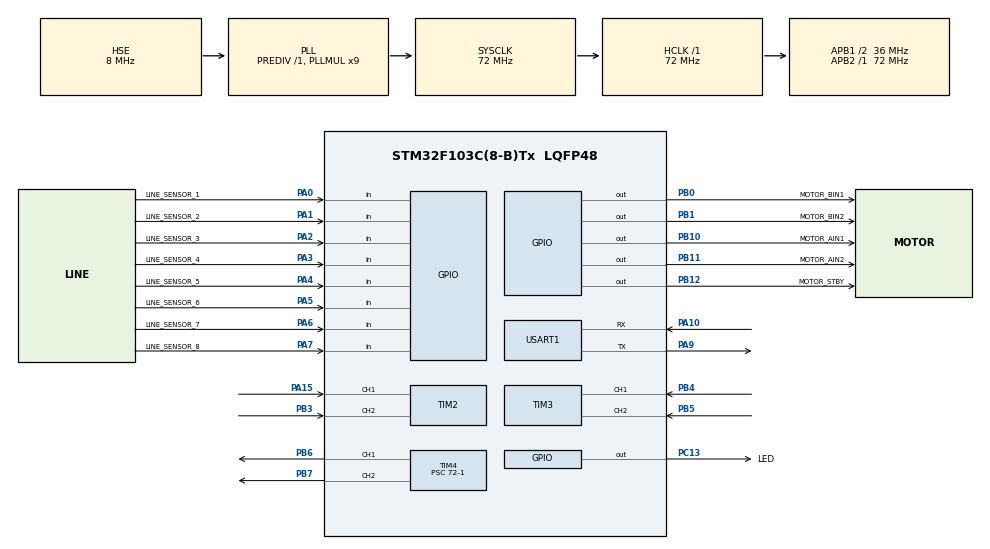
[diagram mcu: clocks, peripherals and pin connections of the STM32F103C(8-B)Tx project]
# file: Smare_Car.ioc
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Mcu.Family=STM32F1
Mcu.Name=STM32F103C(8-B)Tx
Mcu.Package=LQFP48
NVIC.PriorityGroup=NVIC_PRIORITYGROUP_4
NVIC.USART1_IRQn=true\:0\:0\:false\:false\:true\:true\:true\:true
PA0-WKUP.GPIO_Label=LINE_SENSOR_1
PA0-WKUP.GPIO_PuPd=GPIO_PULLDOWN
PA0-WKUP.Signal=GPIO_Input
PA1.GPIO_Label=LINE_SENSOR_2
PA1.GPIO_Mode=GPIO_MODE_INPUT
PA1.GPIO_PuPd=GPIO_PULLDOWN
PA1.Signal=GPIO_Input
PA10.Mode=Asynchronous
PA10.Signal=USART1_RX
PA13.Mode=Serial_Wire
PA13.Signal=SYS_JTMS-SWDIO
PA14.Mode=Serial_Wire
PA14.Signal=SYS_JTCK-SWCLK
PA15.Signal=S_TIM2_CH1_ETR
PA2.GPIO_Label=LINE_SENSOR_3
PA2.GPIO_PuPd=GPIO_PULLDOWN
PA2.Signal=GPIO_Input
PA3.GPIO_Label=LINE_SENSOR_4
PA3.GPIO_PuPd=GPIO_PULLDOWN
PA3.Signal=GPIO_Input
PA4.GPIO_Label=LINE_SENSOR_5
PA4.GPIO_PuPd=GPIO_PULLDOWN
PA4.Signal=GPIO_Input
PA5.GPIO_Label=LINE_SENSOR_6
PA5.GPIO_PuPd=GPIO_PULLDOWN
PA5.Signal=GPIO_Input
PA6.GPIO_Label=LINE_SENSOR_7
PA6.GPIO_PuPd=GPIO_PULLDOWN
PA6.Signal=GPIO_Input
PA7.GPIO_Label=LINE_SENSOR_8
PA7.GPIO_PuPd=GPIO_PULLDOWN
PA7.Signal=GPIO_Input
PA9.Mode=Asynchronous
PA9.Signal=USART1_TX
PB0.GPIO_Label=MOTOR_BIN1
PB0.Signal=GPIO_Output
PB1.GPIO_Label=MOTOR_BIN2
PB1.Signal=GPIO_Output
PB10.GPIO_Label=MOTOR_AIN1
PB10.Signal=GPIO_Output
PB11.GPIO_Label=MOTOR_AIN2
PB11.Signal=GPIO_Output
PB12.GPIO_Label=MOTOR_STBY
PB12.PinState=GPIO_PIN_SET
PB12.Signal=GPIO_Output
PB3.Signal=S_TIM2_CH2
PB4.Signal=S_TIM3_CH1
PB5.Signal=S_TIM3_CH2
PB6.Signal=S_TIM4_CH1
PB7.Signal=S_TIM4_CH2
PC13-TAMPER-RTC.GPIO_Label=LED
PC13-TAMPER-RTC.PinState=GPIO_PIN_SET
PC13-TAMPER-RTC.Signal=GPIO_Output
PD0-OSC_IN.Mode=HSE-External-Oscillator
PD0-OSC_IN.Signal=RCC_OSC_IN
PD1-OSC_OUT.Mode=HSE-External-Oscillator
PD1-OSC_OUT.Signal=RCC_OSC_OUT
ProjectManager.HeapSize=0x200
ProjectManager.StackSize=0x400
ProjectManager.TargetToolchain=MDK-ARM V5.32
RCC.AHBFreq_Value=72000000
RCC.APB1CLKDivider=RCC_HCLK_DIV2
RCC.APB1Freq_Value=36000000
RCC.APB1TimFreq_Value=72000000
RCC.APB2Freq_Value=72000000
RCC.APB2TimFreq_Value=72000000
RCC.HCLKFreq_Value=72000000
RCC.PLLMUL=RCC_PLL_MUL9
RCC.PLLSourceVirtual=RCC_PLLSOURCE_HSE
RCC.SYSCLKFreq_VALUE=72000000
RCC.SYSCLKSource=RCC_SYSCLKSOURCE_PLLCLK
RCC.USBFreq_Value=72000000
SH.S_TIM2_CH1_ETR.0=TIM2_CH1,Encoder_Interface
SH.S_TIM2_CH2.0=TIM2_CH2,Encoder_Interface
SH.S_TIM3_CH1.0=TIM3_CH1,Encoder_Interface
SH.S_TIM3_CH2.0=TIM3_CH2,Encoder_Interface
SH.S_TIM4_CH1.0=TIM4_CH1,PWM Generation1 CH1
SH.S_TIM4_CH2.0=TIM4_CH2,PWM Generation2 CH2
TIM2.EncoderMode=TIM_ENCODERMODE_TI12
TIM3.EncoderMode=TIM_ENCODERMODE_TI12
TIM4.Channel-PWM\ Generation1\ CH1=TIM_CHANNEL_1
TIM4.Channel-PWM\ Generation2\ CH2=TIM_CHANNEL_2
TIM4.Period=999
TIM4.Prescaler=72-1
USART1.VirtualMode=VM_ASYNC
VP_TIM4_VS_ClockSourceINT.Mode=Internal
board=custom

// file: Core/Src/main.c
/* USER CODE BEGIN Header */
/**
  ******************************************************************************
  * @file           : main.c
  * @brief          : Main program body
  ******************************************************************************
  * @attention
  *
  * Copyright (c) 2025 STMicroelectronics.
  * All rights reserved.
  *
  * This software is licensed under terms that can be found in the LICENSE file
  * in the root directory of this software component.
  * If no LICENSE file comes with this software, it is provided AS-IS.
  *
  ******************************************************************************
  */
/* USER CODE END Header */
#include "main.h"
#include "tim.h"
#include "usart.h"
#include "gpio.h"

/* USER CODE BEGIN PD */

// 八路灰度传感器引脚定义 (接在GPIOA的PA0~PA7)
#define SENSOR_NUM 8
#define SENSOR_GPIO GPIOA
#define SENSOR_PIN_0 GPIO_PIN_0  // LINE_SENSOR_1
#define SENSOR_PIN_1 GPIO_PIN_1  // LINE_SENSOR_2
#define SENSOR_PIN_2 GPIO_PIN_2  // LINE_SENSOR_3
#define SENSOR_PIN_3 GPIO_PIN_3  // LINE_SENSOR_4
#define SENSOR_PIN_4 GPIO_PIN_4  // LINE_SENSOR_5
#define SENSOR_PIN_5 GPIO_PIN_5  // LINE_SENSOR_6
#define SENSOR_PIN_6 GPIO_PIN_6  // LINE_SENSOR_7
#define SENSOR_PIN_7 GPIO_PIN_7  // LINE_SENSOR_8

// 电机控制引脚定义
#define MOTOR_STBY_GPIO      GPIOB
#define MOTOR_STBY_PIN       GPIO_PIN_12

#define MOTOR_AIN1_GPIO      GPIOB
#define MOTOR_AIN1_PIN       GPIO_PIN_0
#define MOTOR_AIN2_GPIO      GPIOB
#define MOTOR_AIN2_PIN       GPIO_PIN_1

#define MOTOR_BIN1_GPIO      GPIOB
#define MOTOR_BIN1_PIN       GPIO_PIN_10
#define MOTOR_BIN2_GPIO      GPIOB
#define MOTOR_BIN2_PIN       GPIO_PIN_11

// PWM通道 (TIM4 CH1-CH2)
#define MOTOR_A_PWM_CHANNEL  TIM_CHANNEL_1  // PB6 - MOTOR_PWMA
#define MOTOR_B_PWM_CHANNEL  TIM_CHANNEL_2  // PB7 - MOTOR_PWMB

// 编码器引脚定义
// 左编码器 - TIM2 (PA15=CH1, PB3=CH2)
#define ENCODER_LEFT_TIM     htim2
// 右编码器 - TIM3 (PB4=CH1, PB5=CH2) - 注意：如果PA6/PA7被传感器占用，需要调整
#define ENCODER_RIGHT_TIM    htim3

// 编码器参数 - MG310电机
#define ENCODER_RESOLUTION   13       // 霍尔/GMR编码器线数（MG310电机）
#define GEAR_RATIO           20       // 减速比 1:20（MG310电机）
#define MOTOR_RATED_RPM      400      // 额定转速 400±13% RPM
#define ENCODER_TOTAL_COUNT  (ENCODER_RESOLUTION * GEAR_RATIO * 4)  // 一圈总计数1040（4倍频）
#define WHEEL_DIAMETER       48.0f    // 轮子直径(mm)，根据实际测量调整
#define WHEEL_PERIMETER      (WHEEL_DIAMETER * 3.14159f)  // 轮子周长(mm)

// 速度参数（高速循迹优化）
#define SPEED_MAX 999
#define SPEED_MIN 200
#define SPEED_BASE 850        // 基础速度（85%）
#define SPEED_STRAIGHT 950    // 直线最高速
#define SPEED_SLOW 600        // 急弯减速
#define SPEED_TURN_MIN 400    // 转弯最小速度

// PID参数
#define KP 120                // 比例系数（降低减少振荡）
#define KD 120                // 微分系数（增大增强阻尼）

// 板载LED（假设接在PC13，STM32F103C8常用引脚）
#define LED_GPIO GPIOC
#define LED_PIN  GPIO_PIN_13

// 测试按键（可选，如果没有可以用复位按钮）
#define KEY_GPIO GPIOB
#define KEY_PIN  GPIO_PIN_15

/* USER CODE END PD */

/* USER CODE BEGIN PV */

uint8_t sensor_data[SENSOR_NUM]; // 存储8路传感器数据
const uint16_t sensor_pins[SENSOR_NUM] = {
    SENSOR_PIN_0, SENSOR_PIN_1, SENSOR_PIN_2, SENSOR_PIN_3,
    SENSOR_PIN_4, SENSOR_PIN_5, SENSOR_PIN_6, SENSOR_PIN_7
};

// 循迹算法变量
int16_t position = 0;           // 当前位置偏差 (-70到70)
int16_t last_position = 0;      // 上次位置偏差
int16_t filtered_position = 0;  // 滤波后的位置（用于平滑）
int16_t position_derivative = 0; // 位置微分
int16_t power_diff = 0;         // 左右轮速度差

// 位置权重（中间传感器权重大）
const int8_t position_weights[SENSOR_NUM] = {-70, -50, -30, -10, 10, 30, 50, 70};

// 测试模式变量
uint8_t test_mode = 0;          // 测试模式: 0=循迹, 1=电机测试
uint32_t led_blink_interval = 1000; // LED闪烁间隔

// 编码器变量
int32_t encoder_left_count = 0;    // 左编码器计数
int32_t encoder_right_count = 0;   // 右编码器计数
int32_t encoder_left_last = 0;     // 上次左编码器计数
int32_t encoder_right_last = 0;    // 上次右编码器计数
float speed_left = 0.0f;           // 左轮速度 (mm/s)
float speed_right = 0.0f;          // 右轮速度 (mm/s)
float distance_left = 0.0f;        // 左轮行驶距离 (mm)
float distance_right = 0.0f;       // 右轮行驶距离 (mm)

/* USER CODE END PV */

void SystemClock_Config(void);
/* USER CODE BEGIN PFP */

void ReadSensors(void);
void Encoder_Init(void);
void Encoder_Read(void);
void Encoder_Reset(void);
void Encoder_Calculate_Speed(float delta_time);
void Motor_Init(void);
void Motor_SetSpeed(uint16_t motor_a_speed, uint16_t motor_b_speed);
void Motor_Forward(uint16_t motor_a_speed, uint16_t motor_b_speed);
void Motor_Backward(uint16_t motor_a_speed, uint16_t motor_b_speed);
void Motor_TurnLeft(uint16_t speed);
void Motor_TurnRight(uint16_t speed);
void Motor_Stop(void);
void Motor_DifferentialDrive(int16_t left_speed, int16_t right_speed);
int16_t Calculate_Position(void);
void TrackLine_Advanced(void);
void TrackLine(void);
void Test_Motor_Simple(void);
void LED_Toggle(void);
void LED_Blink_Fast(void);
void LED_Blink_Slow(void);

/* USER CODE END PFP */

/* USER CODE BEGIN 0 */

/**
  * @brief  读取8路灰度传感器数据
  * @note   赛道特征：中间白色，两边黑色边框
  *         传感器硬件输出：浅色(白) -> 0(GPIO_PIN_RESET)，深色(黑) -> 1(GPIO_PIN_SET)
  *         映射规则：白色赛道 -> 1，黑色边框 -> 0
  * @retval None
  */
void ReadSensors(void)
{
    for (int i = 0; i < SENSOR_NUM; i++)
    {
        // HAL_GPIO_ReadPin 返回 GPIO_PIN_SET (1) 或 GPIO_PIN_RESET (0)
        // 硬件：白色 -> 0(GPIO_PIN_RESET)，黑色 -> 1(GPIO_PIN_SET)
        // 逻辑映射：白色赛道 -> 1，黑色边框 -> 0
        GPIO_PinState raw = HAL_GPIO_ReadPin(SENSOR_GPIO, sensor_pins[i]);
        sensor_data[i] = (raw == GPIO_PIN_SET) ? 0 : 1;  // 黑色->0, 白色->1
    }
}

/**
  * @brief  编码器初始化
  * @note   启动TIM2和TIM3的编码器模式
  *         需要在CubeMX中配置TIM2和TIM3为Encoder Mode
  * @retval None
  */
void Encoder_Init(void)
{
    // 启动编码器模式
    HAL_TIM_Encoder_Start(&ENCODER_LEFT_TIM, TIM_CHANNEL_ALL);
    HAL_TIM_Encoder_Start(&ENCODER_RIGHT_TIM, TIM_CHANNEL_ALL);

    // 复位计数器
    __HAL_TIM_SET_COUNTER(&ENCODER_LEFT_TIM, 0);
    __HAL_TIM_SET_COUNTER(&ENCODER_RIGHT_TIM, 0);
}

/**
  * @brief  读取编码器计数值
  * @retval None
  */
void Encoder_Read(void)
{
    // 读取编码器计数（16位定时器需要处理溢出）
    encoder_left_count = (int16_t)__HAL_TIM_GET_COUNTER(&ENCODER_LEFT_TIM);
    encoder_right_count = (int16_t)__HAL_TIM_GET_COUNTER(&ENCODER_RIGHT_TIM);

    // 计算行驶距离（累积）
    distance_left += (encoder_left_count - encoder_left_last) * WHEEL_PERIMETER / ENCODER_TOTAL_COUNT;
    distance_right += (encoder_right_count - encoder_right_last) * WHEEL_PERIMETER / ENCODER_TOTAL_COUNT;
}

/**
  * @brief  复位编码器
  * @retval None
  */
void Encoder_Reset(void)
{
    __HAL_TIM_SET_COUNTER(&ENCODER_LEFT_TIM, 0);
    __HAL_TIM_SET_COUNTER(&ENCODER_RIGHT_TIM, 0);

    encoder_left_count = 0;
    encoder_right_count = 0;
    encoder_left_last = 0;
    encoder_right_last = 0;
    distance_left = 0.0f;
    distance_right = 0.0f;
    speed_left = 0.0f;
    speed_right = 0.0f;
}

/**
  * @brief  计算编码器速度
  * @param  delta_time: 时间间隔 (秒)
  * @retval None
  */
void Encoder_Calculate_Speed(float delta_time)
{
    // 读取当前编码器值
    int32_t left_current = (int16_t)__HAL_TIM_GET_COUNTER(&ENCODER_LEFT_TIM);
    int32_t right_current = (int16_t)__HAL_TIM_GET_COUNTER(&ENCODER_RIGHT_TIM);

    // 计算增量
    int32_t left_delta = left_current - encoder_left_last;
    int32_t right_delta = right_current - encoder_right_last;

    // 计算速度 (mm/s)
    if (delta_time > 0.0f)
    {
        speed_left = (left_delta * WHEEL_PERIMETER / ENCODER_TOTAL_COUNT) / delta_time;
        speed_right = (right_delta * WHEEL_PERIMETER / ENCODER_TOTAL_COUNT) / delta_time;
    }

    // 更新上次值
    encoder_left_last = left_current;
    encoder_right_last = right_current;
    encoder_left_count = left_current;
    encoder_right_count = right_current;
}

/**
  * @brief  电机初始化
  * @retval None
  */
void Motor_Init(void)
{
    // 启动PWM
    HAL_TIM_PWM_Start(&htim4, MOTOR_A_PWM_CHANNEL);
    HAL_TIM_PWM_Start(&htim4, MOTOR_B_PWM_CHANNEL);

    // 使能电机驱动 (STBY引脚置高)
    HAL_GPIO_WritePin(MOTOR_STBY_GPIO, MOTOR_STBY_PIN, GPIO_PIN_SET);

    // 初始停止状态
    Motor_Stop();
}

/**
  * @brief  设置电机速度
  * @param  motor_a_speed: 电机A速度 (0-1000)
  * @param  motor_b_speed: 电机B速度 (0-1000)
  * @retval None
  */
void Motor_SetSpeed(uint16_t motor_a_speed, uint16_t motor_b_speed)
{
    // 限制速度范围
    if (motor_a_speed > SPEED_MAX) motor_a_speed = SPEED_MAX;
    if (motor_b_speed > SPEED_MAX) motor_b_speed = SPEED_MAX;

    __HAL_TIM_SET_COMPARE(&htim4, MOTOR_A_PWM_CHANNEL, motor_a_speed);
    __HAL_TIM_SET_COMPARE(&htim4, MOTOR_B_PWM_CHANNEL, motor_b_speed);
}

/**
  * @brief  电机前进
  * @param  motor_a_speed: 电机A速度
  * @param  motor_b_speed: 电机B速度
  * @retval None
  */
void Motor_Forward(uint16_t motor_a_speed, uint16_t motor_b_speed)
{
    // 电机A正转
    HAL_GPIO_WritePin(MOTOR_AIN1_GPIO, MOTOR_AIN1_PIN, GPIO_PIN_SET);
    HAL_GPIO_WritePin(MOTOR_AIN2_GPIO, MOTOR_AIN2_PIN, GPIO_PIN_RESET);

    // 电机B正转
    HAL_GPIO_WritePin(MOTOR_BIN1_GPIO, MOTOR_BIN1_PIN, GPIO_PIN_SET);
    HAL_GPIO_WritePin(MOTOR_BIN2_GPIO, MOTOR_BIN2_PIN, GPIO_PIN_RESET);

    Motor_SetSpeed(motor_a_speed, motor_b_speed);
}

/**
  * @brief  电机后退
  * @param  motor_a_speed: 电机A速度
  * @param  motor_b_speed: 电机B速度
  * @retval None
  */
void Motor_Backward(uint16_t motor_a_speed, uint16_t motor_b_speed)
{
    // 电机A反转
    HAL_GPIO_WritePin(MOTOR_AIN1_GPIO, MOTOR_AIN1_PIN, GPIO_PIN_RESET);
    HAL_GPIO_WritePin(MOTOR_AIN2_GPIO, MOTOR_AIN2_PIN, GPIO_PIN_SET);

    // 电机B反转
    HAL_GPIO_WritePin(MOTOR_BIN1_GPIO, MOTOR_BIN1_PIN, GPIO_PIN_RESET);
    HAL_GPIO_WritePin(MOTOR_BIN2_GPIO, MOTOR_BIN2_PIN, GPIO_PIN_SET);

    Motor_SetSpeed(motor_a_speed, motor_b_speed);
}

/**
  * @brief  原地左转
  * @param  speed: 转向速度
  * @retval None
  */
void Motor_TurnLeft(uint16_t speed)
{
    // 电机A反转，电机B正转
    HAL_GPIO_WritePin(MOTOR_AIN1_GPIO, MOTOR_AIN1_PIN, GPIO_PIN_RESET);
    HAL_GPIO_WritePin(MOTOR_AIN2_GPIO, MOTOR_AIN2_PIN, GPIO_PIN_SET);

    HAL_GPIO_WritePin(MOTOR_BIN1_GPIO, MOTOR_BIN1_PIN, GPIO_PIN_SET);
    HAL_GPIO_WritePin(MOTOR_BIN2_GPIO, MOTOR_BIN2_PIN, GPIO_PIN_RESET);

    Motor_SetSpeed(speed, speed);
}

/**
  * @brief  原地右转
  * @param  speed: 转向速度
  * @retval None
  */
void Motor_TurnRight(uint16_t speed)
{
    // 电机A正转，电机B反转
    HAL_GPIO_WritePin(MOTOR_AIN1_GPIO, MOTOR_AIN1_PIN, GPIO_PIN_SET);
    HAL_GPIO_WritePin(MOTOR_AIN2_GPIO, MOTOR_AIN2_PIN, GPIO_PIN_RESET);

    HAL_GPIO_WritePin(MOTOR_BIN1_GPIO, MOTOR_BIN1_PIN, GPIO_PIN_RESET);
    HAL_GPIO_WritePin(MOTOR_BIN2_GPIO, MOTOR_BIN2_PIN, GPIO_PIN_SET);

    Motor_SetSpeed(speed, speed);
}

/**
  * @brief  电机停止
  * @retval None
  */
void Motor_Stop(void)
{
    HAL_GPIO_WritePin(MOTOR_AIN1_GPIO, MOTOR_AIN1_PIN, GPIO_PIN_RESET);
    HAL_GPIO_WritePin(MOTOR_AIN2_GPIO, MOTOR_AIN2_PIN, GPIO_PIN_RESET);
    HAL_GPIO_WritePin(MOTOR_BIN1_GPIO, MOTOR_BIN1_PIN, GPIO_PIN_RESET);
    HAL_GPIO_WritePin(MOTOR_BIN2_GPIO, MOTOR_BIN2_PIN, GPIO_PIN_RESET);

    Motor_SetSpeed(0, 0);
}

/**
  * @brief  差速驱动（支持负速度）
  * @param  left_speed: 左轮速度（可为负）
  * @param  right_speed: 右轮速度（可为负）
  * @retval None
  */
void Motor_DifferentialDrive(int16_t left_speed, int16_t right_speed)
{
    // 左电机方向控制
    if (left_speed >= 0)
    {
        HAL_GPIO_WritePin(MOTOR_AIN1_GPIO, MOTOR_AIN1_PIN, GPIO_PIN_SET);
        HAL_GPIO_WritePin(MOTOR_AIN2_GPIO, MOTOR_AIN2_PIN, GPIO_PIN_RESET);
    }
    else
    {
        HAL_GPIO_WritePin(MOTOR_AIN1_GPIO, MOTOR_AIN1_PIN, GPIO_PIN_RESET);
        HAL_GPIO_WritePin(MOTOR_AIN2_GPIO, MOTOR_AIN2_PIN, GPIO_PIN_SET);
        left_speed = -left_speed;
    }

    // 右电机方向控制
    if (right_speed >= 0)
    {
        HAL_GPIO_WritePin(MOTOR_BIN1_GPIO, MOTOR_BIN1_PIN, GPIO_PIN_SET);
        HAL_GPIO_WritePin(MOTOR_BIN2_GPIO, MOTOR_BIN2_PIN, GPIO_PIN_RESET);
    }
    else
    {
        HAL_GPIO_WritePin(MOTOR_BIN1_GPIO, MOTOR_BIN1_PIN, GPIO_PIN_RESET);
        HAL_GPIO_WritePin(MOTOR_BIN2_GPIO, MOTOR_BIN2_PIN, GPIO_PIN_SET);
        right_speed = -right_speed;
    }

    // 限幅
    if (left_speed > SPEED_MAX) left_speed = SPEED_MAX;
    if (right_speed > SPEED_MAX) right_speed = SPEED_MAX;

    Motor_SetSpeed(left_speed, right_speed);
}

/**
  * @brief  计算赛道中心位置（加权平均）
  * @note   白色赛道=1，黑色边框=0
  *         通过检测白色区域来判断小车在赛道的位置
  * @retval 位置值 (-70到70，0表示中心）
  */
int16_t Calculate_Position(void)
{
    int32_t weighted_sum = 0;
    uint8_t sensor_count = 0;

    // 加权求和 - 检测白色赛道
    for (int i = 0; i < SENSOR_NUM; i++)
    {
        if (sensor_data[i] == 1) // 检测到白色赛道
        {
            weighted_sum += position_weights[i];
            sensor_count++;
        }
    }

    // 计算位置
    if (sensor_count > 0)
    {
        return (int16_t)(weighted_sum / sensor_count);
    }
    else
    {
        // 全黑（完全偏离赛道）：保持上次位置进行修正
        return last_position;
    }
}

/**
  * @brief  高级循迹算法 - PID控制 + 自适应速度
  * @retval None
  */
void TrackLine_Advanced(void)
{
    // 计算当前位置
    position = Calculate_Position();

    // 低通滤波：平滑位置信号（alpha=0.7，保留70%新值+30%旧值）
    filtered_position = (position * 7 + filtered_position * 3) / 10;

    // 死区控制：直道微小偏差忽略，减少抖动
    int16_t control_position = filtered_position;
    if (control_position > -5 && control_position < 5)
    {
        control_position = 0;  // 认为在中心，不修正
    }

    // 计算微分
    position_derivative = control_position - last_position;
    last_position = control_position;

    // PID计算速度差
    power_diff = (KP * control_position / 10) + (KD * position_derivative);

    // 根据偏差调整基础速度（直线加速，弯道减速）
    int16_t base_speed;
    int16_t abs_pos = (control_position < 0) ? -control_position : control_position;

    if (abs_pos < 15) // 基本在直线上
    {
        base_speed = SPEED_STRAIGHT;
    }
    else if (abs_pos < 40) // 小弯
    {
        base_speed = SPEED_BASE;
    }
    else // 急弯
    {
        base_speed = SPEED_SLOW;
    }

    // 计算左右轮速度
    int16_t left_speed = base_speed - power_diff;
    int16_t right_speed = base_speed + power_diff;

    // 速度限幅
    if (left_speed < SPEED_TURN_MIN) left_speed = SPEED_TURN_MIN;
    if (right_speed < SPEED_TURN_MIN) right_speed = SPEED_TURN_MIN;
    if (left_speed > SPEED_MAX) left_speed = SPEED_MAX;
    if (right_speed > SPEED_MAX) right_speed = SPEED_MAX;

    // 差速控制
    Motor_DifferentialDrive(left_speed, right_speed);
}

/**
  * @brief  循迹算法 - 根据传感器数据控制电机
  * @note   传感器排列: S0 S1 S2 S3 S4 S5 S6 S7 (左->右)
  *         白色赛道为1，黑色边框为0
  *         检测白色区域来保持在赛道中央
  * @retval None
  */
void TrackLine(void)
{
    // 简单算法作为备用
    uint8_t left = sensor_data[0] + sensor_data[1] + sensor_data[2];
    uint8_t right = sensor_data[5] + sensor_data[6] + sensor_data[7];

    if (sensor_data[3] == 1 && sensor_data[4] == 1) // 中心有白色赛道
    {
        Motor_Forward(SPEED_STRAIGHT, SPEED_STRAIGHT);
    }
    else if (left == 0) // 左侧全黑（左边框），需要右转
    {
        Motor_Forward(SPEED_BASE, SPEED_TURN_MIN);
    }
    else if (right == 0) // 右侧全黑（右边框），需要左转
    {
        Motor_Forward(SPEED_TURN_MIN, SPEED_BASE);
    }
    else if (sensor_data[2] == 1 || sensor_data[3] == 1) // 白色偏左，需要左转
    {
        Motor_Forward(SPEED_SLOW, SPEED_BASE);
    }
    else if (sensor_data[4] == 1 || sensor_data[5] == 1) // 白色偏右，需要右转
    {
        Motor_Forward(SPEED_BASE, SPEED_SLOW);
    }
    else // 异常情况
    {
        Motor_Forward(SPEED_BASE, SPEED_BASE);
    }
}

/**
  * @brief  LED翻转
  * @retval None
  */
void LED_Toggle(void)
{
    HAL_GPIO_TogglePin(LED_GPIO, LED_PIN);
}

/**
  * @brief  LED快速闪烁（指示传感器检测到黑线）
  * @retval None
  */
void LED_Blink_Fast(void)
{
    static uint32_t last_time = 0;
    if (HAL_GetTick() - last_time > 100) // 100ms闪烁
    {
        last_time = HAL_GetTick();
        LED_Toggle();
    }
}

/**
  * @brief  LED慢速闪烁（指示正常运行）
  * @retval None
  */
void LED_Blink_Slow(void)
{
    static uint32_t last_time = 0;
    if (HAL_GetTick() - last_time > 500) // 500ms闪烁
    {
        last_time = HAL_GetTick();
        LED_Toggle();
    }
}

/**
  * @brief  简化的电机测试（最大功率持续运行）
  * @note   LED快闪表示正在测试
  * @retval None
  */
void Test_Motor_Simple(void)
{
    static uint32_t last_time = 0;
    static uint8_t started = 0;

    // LED快速闪烁表示测试模式
    LED_Blink_Fast();

    // 启动后持续以最大功率前进
    if (!started)
    {
        started = 1;
        last_time = HAL_GetTick();
        Motor_Forward(SPEED_MAX, SPEED_MAX); // 最大功率前进
    }

    // 每10秒输出一次运行时间（通过LED闪烁次数计数）
    if (HAL_GetTick() - last_time > 10000)
    {
        last_time = HAL_GetTick();
        // 让LED暂停一下表示已运行10秒
        HAL_GPIO_WritePin(LED_GPIO, LED_PIN, GPIO_PIN_SET);
        HAL_Delay(500);
        HAL_GPIO_WritePin(LED_GPIO, LED_PIN, GPIO_PIN_RESET);
    }
}

/* USER CODE END 0 */

int main(void)
{

  /* MCU Configuration--------------------------------------------------------*/

  /* Reset of all peripherals, Initializes the Flash interface and the Systick. */
  HAL_Init();

  /* Configure the system clock */
  SystemClock_Config();

  /* Initialize all configured peripherals */
  MX_GPIO_Init();
  MX_TIM4_Init();
  MX_USART1_UART_Init();
  MX_TIM2_Init();
  MX_TIM3_Init();
  /* USER CODE BEGIN 2 */

  // 初始化电机
  Motor_Init();

  // 初始化编码器
  Encoder_Init();

  // 调试：确认TIM4配置
  // ARR值应该是9999或999
  uint32_t arr_value = __HAL_TIM_GET_AUTORELOAD(&htim4);

  // 通过LED闪烁次数指示ARR范围（调试用）
  if (arr_value < 1000) {
      // ARR是999，快闪1次
      for(int i=0; i<2; i++) { HAL_GPIO_TogglePin(LED_GPIO, LED_PIN); HAL_Delay(100); }
  } else if (arr_value < 10000) {
      // ARR是9999，快闪2次
      for(int i=0; i<4; i++) { HAL_GPIO_TogglePin(LED_GPIO, LED_PIN); HAL_Delay(100); }
  } else {
      // ARR更大，快闪3次
      for(int i=0; i<6; i++) { HAL_GPIO_TogglePin(LED_GPIO, LED_PIN); HAL_Delay(100); }
  }

  // LED指示系统启动（快闪3次）
  for(int i = 0; i < 6; i++)
  {
      HAL_GPIO_TogglePin(LED_GPIO, LED_PIN);
      HAL_Delay(200);
  }

  HAL_Delay(500); // 暂停后进入下一个指示

  // 默认进入循迹模式
  // 如果需要测试电机，将test_mode改为1
  test_mode = 0; // 0=循迹模式, 1=电机测试

  /* USER CODE END 2 */

  /* Infinite loop */
  /* USER CODE BEGIN WHILE */

  uint32_t last_speed_calc = HAL_GetTick(); // 用于速度计算的时间戳

  while (1)
  {
    /* USER CODE END WHILE */

    /* USER CODE BEGIN 3 */

    // 每100ms计算一次速度
    uint32_t current_time = HAL_GetTick();
    if (current_time - last_speed_calc >= 100)
    {
        float delta_time = (current_time - last_speed_calc) / 1000.0f;
        Encoder_Calculate_Speed(delta_time);
        last_speed_calc = current_time;
    }

    if (test_mode == 0) // 循迹模式
    {
        ReadSensors();
        TrackLine_Advanced(); // 使用高级PID循迹
        LED_Blink_Slow(); // 慢速闪烁表示循迹模式
        HAL_Delay(5); // 更快的循环频率
    }
    else // 电机测试模式
    {
        Test_Motor_Simple();
        HAL_Delay(50);
    }
  }
  /* USER CODE END 3 */
}

void SystemClock_Config(void)
{
  RCC_OscInitTypeDef RCC_OscInitStruct = {0};
  RCC_ClkInitTypeDef RCC_ClkInitStruct = {0};

  /** Initializes the RCC Oscillators according to the specified parameters
  * in the RCC_OscInitTypeDef structure.
  */
  RCC_OscInitStruct.OscillatorType = RCC_OSCILLATORTYPE_HSE;
  RCC_OscInitStruct.HSEState = RCC_HSE_ON;
  RCC_OscInitStruct.HSEPredivValue = RCC_HSE_PREDIV_DIV1;
  RCC_OscInitStruct.HSIState = RCC_HSI_ON;
  RCC_OscInitStruct.PLL.PLLState = RCC_PLL_ON;
  RCC_OscInitStruct.PLL.PLLSource = RCC_PLLSOURCE_HSE;
  RCC_OscInitStruct.PLL.PLLMUL = RCC_PLL_MUL9;
  if (HAL_RCC_OscConfig(&RCC_OscInitStruct) != HAL_OK)
  {
    Error_Handler();
  }

  /** Initializes the CPU, AHB and APB buses clocks
  */
  RCC_ClkInitStruct.ClockType = RCC_CLOCKTYPE_HCLK|RCC_CLOCKTYPE_SYSCLK
                              |RCC_CLOCKTYPE_PCLK1|RCC_CLOCKTYPE_PCLK2;
  RCC_ClkInitStruct.SYSCLKSource = RCC_SYSCLKSOURCE_PLLCLK;
  RCC_ClkInitStruct.AHBCLKDivider = RCC_SYSCLK_DIV1;
  RCC_ClkInitStruct.APB1CLKDivider = RCC_HCLK_DIV2;
  RCC_ClkInitStruct.APB2CLKDivider = RCC_HCLK_DIV1;

  if (HAL_RCC_ClockConfig(&RCC_ClkInitStruct, FLASH_LATENCY_2) != HAL_OK)
  {
    Error_Handler();
  }
}

void Error_Handler(void)
{
  __disable_irq();
  while (1)
  {
  }
}
